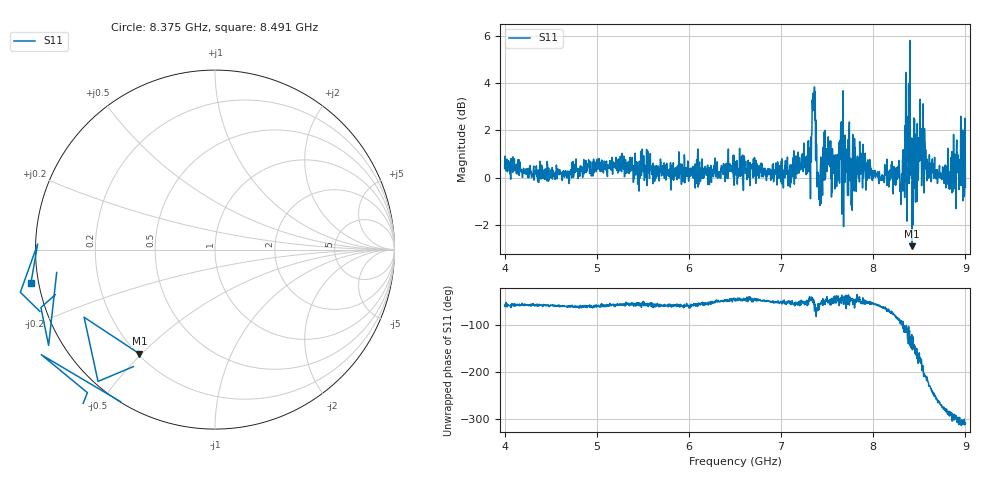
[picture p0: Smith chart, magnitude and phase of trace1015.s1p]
! Created with skrf 1.8.0 (http://scikit-rf.org).
# Hz S RI R 50.0
!freq ReS11 ImS11
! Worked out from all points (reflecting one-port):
!   1601 points, 4 GHz to 9 GHz, reference 50 ohm
!   lowest |S11| = -2.9 dB at 8.422 GHz (marker M1), VSWR 6.07, Z = 10.3 - j24.6 ohm
!   phase of S11 starts at -58 deg and turns -251 deg over the sweep
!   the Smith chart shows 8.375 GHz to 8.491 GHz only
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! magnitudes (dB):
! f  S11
! 4 GHz  0.4
! 4.625 GHz  -0.1
! 5.25 GHz  0.3
! 5.875 GHz  0.3
! 6.5 GHz  0.3
! 7.125 GHz  0.5
! 7.294 GHz  0.3
! 7.356 GHz  3.0
! 7.412 GHz  -0.6
! 7.503 GHz  1.0
! 7.609 GHz  1.0
! 7.65 GHz  2.3
! 7.75 GHz  0.8
! 7.869 GHz  1.0
! 8.316 GHz  0.1
! 8.331 GHz  0.8
! 8.375 GHz  1.8
! 8.394 GHz  0.7
! 8.412 GHz  1.1
! 8.422 GHz  -2.9
! 8.447 GHz  2.5
! 8.459 GHz  -1.0
! 8.481 GHz  0.3
! 8.519 GHz  1.9
! 8.606 GHz  0.0
! 8.841 GHz  0.8
! 8.972 GHz  0.5
! 9 GHz  -0.4
